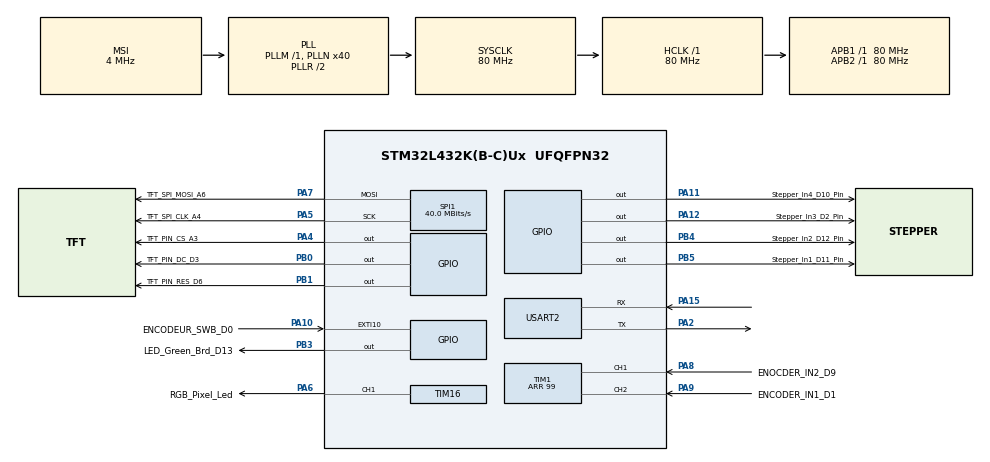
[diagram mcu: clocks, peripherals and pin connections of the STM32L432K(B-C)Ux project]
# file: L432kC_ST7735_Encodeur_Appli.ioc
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Dma.Request0=TIM16_CH1/UP
Dma.TIM16_CH1/UP.0.Direction=DMA_MEMORY_TO_PERIPH
Dma.TIM16_CH1/UP.0.Instance=DMA1_Channel3
Dma.TIM16_CH1/UP.0.MemDataAlignment=DMA_MDATAALIGN_BYTE
Dma.TIM16_CH1/UP.0.MemInc=DMA_MINC_ENABLE
Dma.TIM16_CH1/UP.0.Mode=DMA_CIRCULAR
Dma.TIM16_CH1/UP.0.PeriphDataAlignment=DMA_PDATAALIGN_WORD
Dma.TIM16_CH1/UP.0.PeriphInc=DMA_PINC_DISABLE
Dma.TIM16_CH1/UP.0.Priority=DMA_PRIORITY_HIGH
Mcu.Family=STM32L4
Mcu.Name=STM32L432K(B-C)Ux
Mcu.Package=UFQFPN32
NVIC.DMA1_Channel3_IRQn=true\:0\:0\:false\:false\:true\:false\:true\:true
NVIC.EXTI15_10_IRQn=true\:0\:0\:true\:false\:true\:true\:true\:true
NVIC.FLASH_IRQn=true\:0\:0\:false\:false\:true\:true\:true\:true
NVIC.FPU_IRQn=true\:0\:0\:false\:false\:true\:true\:false\:true
NVIC.PVD_PVM_IRQn=true\:0\:0\:false\:false\:true\:true\:true\:true
NVIC.PriorityGroup=NVIC_PRIORITYGROUP_4
NVIC.TIM1_CC_IRQn=true\:0\:0\:false\:false\:true\:true\:true\:true
PA10.GPIO_Label=ENCODEUR_SWB_D0
PA10.GPIO_PuPd=GPIO_PULLUP
PA10.Signal=GPXTI10
PA11.GPIO_Label=Stepper_In4_D10_Pin
PA11.GPIO_PuPd=GPIO_NOPULL
PA11.PinState=GPIO_PIN_RESET
PA11.Signal=GPIO_Output
PA12.GPIO_Label=Stepper_In3_D2_Pin
PA12.GPIO_PuPd=GPIO_NOPULL
PA12.PinState=GPIO_PIN_RESET
PA12.Signal=GPIO_Output
PA13\ (JTMS-SWDIO).Mode=Serial_Wire
PA13\ (JTMS-SWDIO).Signal=SYS_JTMS-SWDIO
PA14\ (JTCK-SWCLK).Mode=Serial_Wire
PA14\ (JTCK-SWCLK).Signal=SYS_JTCK-SWCLK
PA15\ (JTDI).Mode=Asynchronous
PA15\ (JTDI).Signal=USART2_RX
PA2.Mode=Asynchronous
PA2.Signal=USART2_TX
PA4.GPIO_Label=TFT_PIN_CS_A3
PA4.Signal=GPIO_Output
PA5.GPIO_Label=TFT_SPI_CLK_A4
PA5.Mode=TX_Only_Simplex_Unidirect_Master
PA5.Signal=SPI1_SCK
PA6.GPIO_Label=RGB_Pixel_Led
PA6.Signal=S_TIM16_CH1
PA7.GPIO_Label=TFT_SPI_MOSI_A6
PA7.Mode=TX_Only_Simplex_Unidirect_Master
PA7.Signal=SPI1_MOSI
PA8.GPIO_Label=ENOCDER_IN2_D9
PA8.Signal=S_TIM1_CH1
PA9.GPIO_Label=ENCODER_IN1_D1
PA9.Signal=S_TIM1_CH2
PB0.GPIO_Label=TFT_PIN_DC_D3
PB0.Signal=GPIO_Output
PB1.GPIO_Label=TFT_PIN_RES_D6
PB1.Signal=GPIO_Output
PB3\ (JTDO-TRACESWO).GPIO_Label=LED_Green_Brd_D13
PB3\ (JTDO-TRACESWO).Signal=GPIO_Output
PB4\ (NJTRST).GPIO_Label=Stepper_In2_D12_Pin
PB4\ (NJTRST).GPIO_PuPd=GPIO_NOPULL
PB4\ (NJTRST).PinState=GPIO_PIN_RESET
PB4\ (NJTRST).Signal=GPIO_Output
PB5.GPIO_Label=Stepper_In1_D11_Pin
PB5.GPIO_PuPd=GPIO_NOPULL
PB5.PinState=GPIO_PIN_RESET
PB5.Signal=GPIO_Output
ProjectManager.HeapSize=0x200
ProjectManager.StackSize=0x400
ProjectManager.TargetToolchain=STM32CubeIDE
RCC.ADCFreq_Value=32000000
RCC.AHBFreq_Value=80000000
RCC.APB1Freq_Value=80000000
RCC.APB1TimFreq_Value=80000000
RCC.APB2Freq_Value=80000000
RCC.APB2TimFreq_Value=80000000
RCC.CortexFreq_Value=80000000
RCC.HCLKFreq_Value=80000000
RCC.HSE_VALUE=8000000
RCC.HSI16_VALUE=16000000
RCC.HSI48_VALUE=48000000
RCC.HSI_VALUE=16000000
RCC.LSE_VALUE=32768
RCC.MSI_VALUE=4000000
RCC.PLLMUL=RCC_PLLMUL_4
RCC.PLLN=40
RCC.PLLSAI1N=16
RCC.SYSCLKFreq_VALUE=80000000
RCC.SYSCLKSource=RCC_SYSCLKSOURCE_PLLCLK
RCC.USBFreq_Value=32000000
RCC.VCOOutputFreq_Value=160000000
SH.S_TIM16_CH1.0=TIM16_CH1,PWM Generation1 CH1
SH.S_TIM1_CH1.0=TIM1_CH1,Encoder_Interface
SH.S_TIM1_CH2.0=TIM1_CH2,Encoder_Interface
SPI1.BaudRatePrescaler=SPI_BAUDRATEPRESCALER_2
SPI1.CalculateBaudRate=40.0 MBits/s
SPI1.DataSize=SPI_DATASIZE_8BIT
SPI1.Direction=SPI_DIRECTION_2LINES
SPI1.Mode=SPI_MODE_MASTER
SPI1.NSSPMode=SPI_NSS_PULSE_ENABLE
SPI1.VirtualType=VM_MASTER
TIM1.IC1Filter=3
TIM1.IC2Filter=3
TIM1.Period=99
TIM16.Channel=TIM_CHANNEL_1
TIM16.Period=54
TIM16.Prescaler=0
USART2.VirtualMode-Asynchronous=VM_ASYNC
VP_TIM16_VS_ClockSourceINT.Mode=Enable_Timer
board=NUCLEO-L432KC

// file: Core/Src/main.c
/* USER CODE BEGIN Header */
/**
 ******************************************************************************
 * @file           : main.c
 * @brief          : Main program body
 ******************************************************************************
 * @attention
 *
 * Copyright (c) 2024 STMicroelectronics.
 * All rights reserved.
 *
 * This software is licensed under terms that can be found in the LICENSE file
 * in the root directory of this software component.
 * If no LICENSE file comes with this software, it is provided AS-IS.
 *
 ******************************************************************************
 */
/* USER CODE END Header */
#include "main.h"
#include "dma.h"
#include "spi.h"
#include "tim.h"
#include "usart.h"
#include "gpio.h"

/* USER CODE BEGIN Includes */
#include "menu.h"
#include "Pixel_LED_Driver.h"
#include "ULN2803_Stepper.h"
/* USER CODE END Includes */

/* USER CODE BEGIN PV */
StepperMotor motor;

/* USER CODE END PV */

void SystemClock_Config(void);

int main(void)
{

  /* MCU Configuration--------------------------------------------------------*/

  /* Reset of all peripherals, Initializes the Flash interface and the Systick. */
  HAL_Init();

  /* Configure the system clock */
  SystemClock_Config();

  /* Initialize all configured peripherals */
  MX_GPIO_Init();
  MX_DMA_Init();
  MX_SPI1_Init();
  MX_TIM1_Init();
  MX_TIM16_Init();
  MX_USART2_UART_Init();
  /* USER CODE BEGIN 2 */

	led_set_all_RGB(0, 0, 0);  //init
	led_render();
	HAL_Delay(10);
	HAL_TIM_Encoder_Start_IT(&htim1, TIM_CHANNEL_1); // Démarre le mode encodeur
	ST7735_Init();
	Stepper_Init(&motor);
	menu_demo();
	drawMenu();
  /* USER CODE END 2 */

  /* Infinite loop */
  /* USER CODE BEGIN WHILE */

	while (1)
	{
		if(demo_led_rgb) {
			demo_led_rgb = 0;
			rainbow_effect(2, NUM_PIXELS, 12);
			// 1. Allumer toutes les LEDs en rouge pendant 2 secondes
			led_set_all_RGB(255, 0, 0); // Rouge
			led_render();  // Applique les changements
			HAL_Delay(500);  // Attente de 2 secondes

			// 2. Allumer toutes les LEDs en vert pendant 2 secondes
			led_set_all_RGB(0, 255, 0); // Vert
			led_render();  // Applique les changements
			HAL_Delay(500);  // Attente de 2 secondes

			// 3. Allumer toutes les LEDs en bleu pendant 2 secondes
			led_set_all_RGB(0, 0, 255); // Bleu
			led_render();  // Applique les changements
			HAL_Delay(500);  // Attente de 2 secondes

			// 4. Effet de chenille : déplacer une LED jaune sur la bande pendant 10 secondes
			for (uint8_t i = 0; i < NUM_PIXELS; i++) {
				led_set_all_RGB(0, 0, 0);  // Éteindre toutes les LEDs
				led_set_RGB(i, 255, 255, 0);  // Allumer une LED jaune à la position i
				led_render();  // Applique les changements
				HAL_Delay(50);  // Attente de 200 ms pour l'effet chenille
			}

			// 5. Effet de clignotement rapide : Rouge puis Bleu pendant 1 seconde
			for (uint8_t i = 0; i < 5; i++) {
				led_set_all_RGB(255, 0, 0);  // Rouge
				led_render();  // Applique les changements
				HAL_Delay(50);  // Attente de 100 ms

				led_set_all_RGB(0, 0, 255);  // Bleu
				led_render();  // Applique les changements
				HAL_Delay(50);  // Attente de 100 ms
			}

			// 6. Effet de clignotement lent de toutes les LEDs en blanc pendant 5 secondes
			for (uint8_t i = 0; i < 5; i++) {
				led_set_all_RGB(255, 255, 255);  // Blanc
				led_render();  // Applique les changements
				HAL_Delay(100);  // Attente de 500 ms

				led_set_all_RGB(0, 0, 0);  // Éteindre toutes les LEDs
				led_render();  // Applique les changements
				HAL_Delay(100);  // Attente de 500 ms
			}
		}

		if(motor_control==1) {
			motor_control = 0;
			Stepper_StepCCW_Steps(&motor, 1024, 4);
			Stepper_stop(&motor);
		}

		if(motor_control==2) {
			motor_control = 0;
			Stepper_StepCW_Steps(&motor, 1024, 4);
			Stepper_stop(&motor);
		}
    /* USER CODE END WHILE */

	}
}

void SystemClock_Config(void)
{
  RCC_OscInitTypeDef RCC_OscInitStruct = {0};
  RCC_ClkInitTypeDef RCC_ClkInitStruct = {0};

  /** Configure the main internal regulator output voltage
  */
  if (HAL_PWREx_ControlVoltageScaling(PWR_REGULATOR_VOLTAGE_SCALE1) != HAL_OK)
  {
    Error_Handler();
  }

  /** Initializes the RCC Oscillators according to the specified parameters
  * in the RCC_OscInitTypeDef structure.
  */
  RCC_OscInitStruct.OscillatorType = RCC_OSCILLATORTYPE_MSI;
  RCC_OscInitStruct.MSIState = RCC_MSI_ON;
  RCC_OscInitStruct.MSICalibrationValue = 0;
  RCC_OscInitStruct.MSIClockRange = RCC_MSIRANGE_6;
  RCC_OscInitStruct.PLL.PLLState = RCC_PLL_ON;
  RCC_OscInitStruct.PLL.PLLSource = RCC_PLLSOURCE_MSI;
  RCC_OscInitStruct.PLL.PLLM = 1;
  RCC_OscInitStruct.PLL.PLLN = 40;
  RCC_OscInitStruct.PLL.PLLP = RCC_PLLP_DIV7;
  RCC_OscInitStruct.PLL.PLLQ = RCC_PLLQ_DIV2;
  RCC_OscInitStruct.PLL.PLLR = RCC_PLLR_DIV2;
  if (HAL_RCC_OscConfig(&RCC_OscInitStruct) != HAL_OK)
  {
    Error_Handler();
  }

  /** Initializes the CPU, AHB and APB buses clocks
  */
  RCC_ClkInitStruct.ClockType = RCC_CLOCKTYPE_HCLK|RCC_CLOCKTYPE_SYSCLK
                              |RCC_CLOCKTYPE_PCLK1|RCC_CLOCKTYPE_PCLK2;
  RCC_ClkInitStruct.SYSCLKSource = RCC_SYSCLKSOURCE_PLLCLK;
  RCC_ClkInitStruct.AHBCLKDivider = RCC_SYSCLK_DIV1;
  RCC_ClkInitStruct.APB1CLKDivider = RCC_HCLK_DIV1;
  RCC_ClkInitStruct.APB2CLKDivider = RCC_HCLK_DIV1;

  if (HAL_RCC_ClockConfig(&RCC_ClkInitStruct, FLASH_LATENCY_4) != HAL_OK)
  {
    Error_Handler();
  }
}

void Error_Handler(void)
{
	__disable_irq();
	while (1)
	{
	}
}
